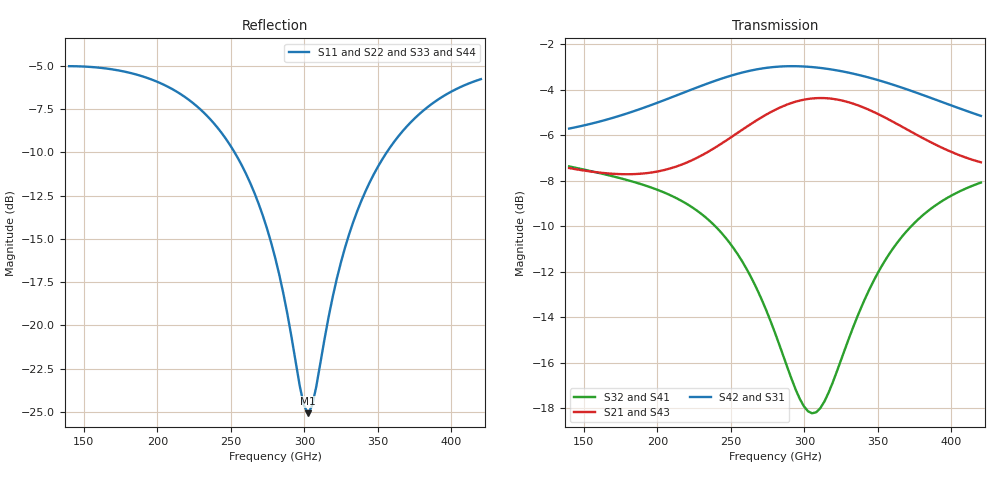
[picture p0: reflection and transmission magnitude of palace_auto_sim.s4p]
#  GHZ S DB R 50
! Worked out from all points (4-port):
!   101 points, 140 GHz to 420 GHz, reference 50 ohm
!   strongest paths, dB at 140 GHz, 210 GHz, 280 GHz, 350 GHz, 420 GHz:
!     S42: -5.7, -4.3, -3.0, -3.6, -5.1
!     S31: -5.7, -4.3, -3.0, -3.6, -5.2
!     S21: -7.4, -7.4, -4.9, -5.1, -7.2
!     S43: -7.4, -7.4, -4.9, -5.1, -7.2
!     S32: -7.4, -8.7, -14.7, -12.0, -8.1
!     S41: -7.4, -8.7, -14.7, -12.0, -8.1
!   lowest |S11| = -25.1 dB at 302.4 GHz (marker M1), VSWR 1.12, Z = 55.7 - j1.57 ohm
!   |S11| at or under -10 dB: 252.4 GHz to 356.1 GHz (103.6 GHz wide, 34.1 % of centre)
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140  -5.03 156.8  -7.44 -50.9  -5.70 -78.8  -7.37 -61.4
     -7.44 -50.9  -5.04 156.8  -7.37 -61.4  -5.70 -78.8
     -5.70 -78.8  -7.37 -61.4  -5.04 156.8  -7.44 -50.9
     -7.37 -61.4  -5.70 -78.8  -7.44 -50.9  -5.03 156.8
201.6  -6.00 131.2  -7.57 -63.5  -4.53 -114.9  -8.45 -88.7
       -7.57 -63.5  -6.00 131.3  -8.44 -88.7  -4.53 -114.9
       -4.53 -114.9  -8.44 -88.7  -6.00 131.3  -7.57 -63.5
       -8.45 -88.7  -4.53 -114.9  -7.57 -63.5  -6.00 131.2
246.4  -9.20 102.9  -6.25 -73.6  -3.45 -146.5  -10.52 -112.2
       -6.25 -73.6  -9.21 103.1  -10.50 -112.1  -3.45 -146.5
       -3.45 -146.5  -10.50 -112.1  -9.22 103.1  -6.24 -73.6
       -10.52 -112.2  -3.45 -146.5  -6.24 -73.6  -9.20 103.0
274.4  -14.36 76.7  -5.08 -85.9  -3.03 -168.9  -13.78 -122.8
       -5.08 -85.9  -14.37 76.9  -13.75 -122.8  -3.03 -168.9
       -3.03 -168.9  -13.75 -122.8  -14.40 76.9  -5.08 -85.9
       -13.78 -122.8  -3.03 -168.9  -5.08 -85.9  -14.35 76.8
302.4  -25.07 -14.6  -4.40 -102.8  -2.98 168.0  -18.16 -103.4
       -4.40 -102.8  -25.16 -14.6  -18.13 -103.7  -2.98 168.0
       -2.98 168.0  -18.13 -103.7  -25.17 -15.3  -4.40 -102.9
       -18.16 -103.4  -2.98 168.0  -4.40 -102.9  -25.09 -14.0
347.2  -11.27 -120.5  -4.98 -130.3  -3.52 132.6  -12.37 -76.1
       -4.98 -130.3  -11.27 -120.5  -12.38 -76.1  -3.52 132.6
       -3.52 132.6  -12.38 -76.1  -11.25 -120.6  -4.98 -130.4
       -12.37 -76.1  -3.52 132.6  -4.98 -130.4  -11.29 -120.5
420  -5.78 -162.9  -7.19 -155.8  -5.15 82.7  -8.07 -112.7
     -7.19 -155.8  -5.78 -162.9  -8.08 -112.6  -5.15 82.7
     -5.15 82.7  -8.08 -112.6  -5.77 -162.8  -7.19 -155.8
     -8.07 -112.7  -5.15 82.7  -7.19 -155.8  -5.78 -162.9
